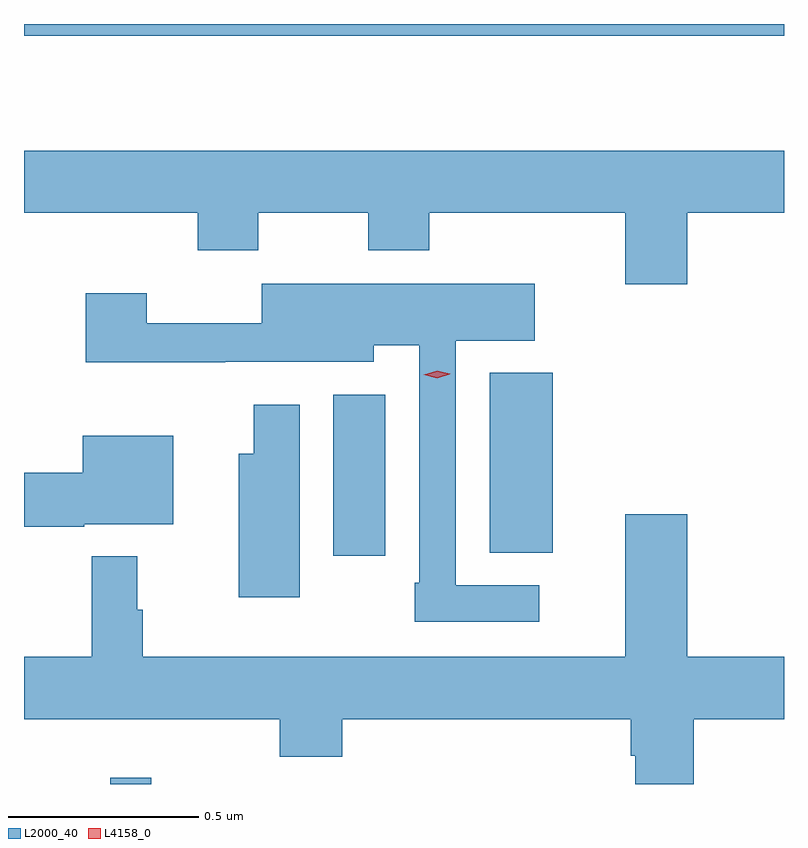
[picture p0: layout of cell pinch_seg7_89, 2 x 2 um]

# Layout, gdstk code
import gdstk
lib = gdstk.Library(unit=1e-6, precision=1e-09)
def R(c, l, rs):  # rectangles x0, y0, x1, y1
    for r in rs: c.add(gdstk.rectangle(r[:2], r[2:], *l))
def P(c, l, *ps):  # polygons
    for p in ps: c.add(gdstk.Polygon(p, *l))
L2000_40 = (2000, 40)
L4158_0 = (4158, 0)

pinch_seg7_89 = lib.new_cell('pinch_seg7_89')
R(pinch_seg7_89, L2000_40, [(882.933,1023.089,883.041,1023.106), (883.52,1023.69,883.657,1024.114), (883.931,1023.697,884.098,1024.171), (882.706,1025.058,884.706,1025.089)])
P(pinch_seg7_89, L2000_40, [(884.452,1024.592),(884.706,1024.592),(884.706,1024.756),(882.706,1024.756),(882.706,1024.592),(883.163,1024.592),(883.163,1024.493),(883.323,1024.493),(883.323,1024.592),(883.612,1024.592),(883.612,1024.493),(883.772,1024.493),(883.772,1024.592),(884.288,1024.592),(884.288,1024.404),(884.452,1024.404)],
  [(884.062,1023.612),(883.842,1023.612),(883.842,1024.256),(884.05,1024.256),(884.05,1024.405),(883.331,1024.405),(883.331,1024.301),(883.029,1024.301),(883.029,1024.381),(882.869,1024.381),(882.869,1024.199),(883.235,1024.199),(883.235,1024.2),(883.627,1024.2),(883.627,1024.244),(883.746,1024.244),(883.746,1023.619),(883.734,1023.619),(883.734,1023.516),(884.062,1023.516)],
  [(883.432,1024.087),(883.31,1024.087),(883.31,1023.958),(883.271,1023.958),(883.271,1023.581),(883.432,1023.581)],
  [(882.864,1023.773),(883.099,1023.773),(883.099,1024.006),(882.86,1024.006),(882.86,1023.908),(882.706,1023.908),(882.706,1023.766),(882.864,1023.766)],
  [(883.019,1023.548),(883.004,1023.548),(883.004,1023.688),(882.884,1023.688),(882.884,1023.424),(882.706,1023.424),(882.706,1023.26),(883.379,1023.26),(883.379,1023.161),(883.544,1023.161),(883.544,1023.26),(884.303,1023.26),(884.303,1023.164),(884.315,1023.164),(884.315,1023.089),(884.468,1023.089),(884.468,1023.26),(884.706,1023.26),(884.706,1023.424),(884.452,1023.424),(884.452,1023.799),(884.288,1023.799),(884.288,1023.424),(883.019,1023.424)])
P(pinch_seg7_89, L4158_0, [(883.793,1024.157),(883.758,1024.166),(883.758,1024.166),(883.758,1024.166),(883.793,1024.177),(883.827,1024.168),(883.828,1024.168),(883.827,1024.167)])

lib.write_gds('pinch_seg7_89.gds')
